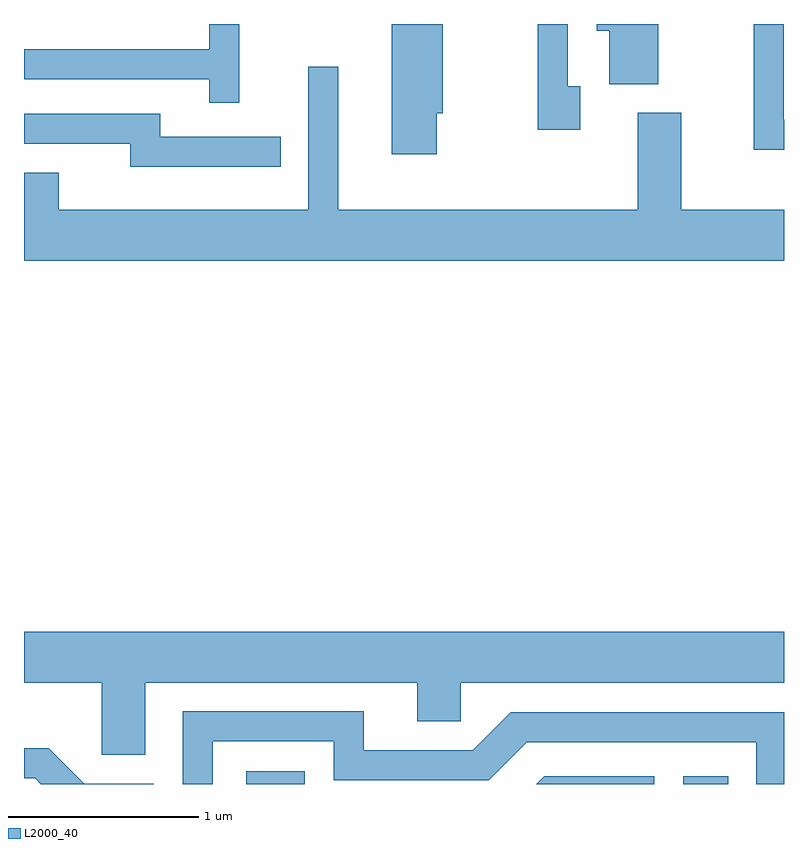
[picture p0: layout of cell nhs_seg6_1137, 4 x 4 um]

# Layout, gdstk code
import gdstk
lib = gdstk.Library(unit=1e-6, precision=1e-09)
def R(c, l, rs):  # rectangles x0, y0, x1, y1
    for r in rs: c.add(gdstk.rectangle(r[:2], r[2:], *l))
def P(c, l, *ps):  # polygons
    for p in ps: c.add(gdstk.Polygon(p, *l))
L2000_40 = (2000, 40)

nhs_seg6_1137 = lib.new_cell('nhs_seg6_1137')
R(nhs_seg6_1137, L2000_40, [(220.781,1556.162,221.089,1556.229), (223.081,1556.162,223.318,1556.204)])
P(nhs_seg6_1137, L2000_40, [(221.784,1559.691),(221.814,1559.691),(221.814,1560.162),(221.546,1560.162),(221.546,1559.476),(221.784,1559.476)],
  [(220.744,1560.162),(220.586,1560.162),(220.586,1560.029),(219.611,1560.029),(219.611,1559.871),(220.586,1559.871),(220.586,1559.748),(220.744,1559.748)],
  [(223.611,1559.659),(223.609,1559.659),(223.609,1560.162),(223.451,1560.162),(223.451,1559.501),(223.611,1559.501)],
  [(222.539,1559.834),(222.474,1559.834),(222.474,1560.162),(222.316,1560.162),(222.316,1559.606),(222.539,1559.606)],
  [(222.949,1560.162),(222.626,1560.162),(222.626,1560.126),(222.691,1560.126),(222.691,1559.846),(222.949,1559.846)],
  [(223.611,1559.184),(223.069,1559.184),(223.069,1559.694),(222.841,1559.694),(222.841,1559.184),(221.264,1559.184),(221.264,1559.938),(221.106,1559.938),(221.106,1559.184),(219.794,1559.184),(219.794,1559.379),(219.611,1559.379),(219.611,1558.916),(223.611,1558.916)],
  [(220.963,1559.569),(220.329,1559.569),(220.329,1559.689),(219.611,1559.689),(219.611,1559.531),(220.171,1559.531),(220.171,1559.411),(220.963,1559.411)],
  [(220.249,1556.696),(221.681,1556.696),(221.681,1556.491),(221.909,1556.491),(221.909,1556.696),(223.611,1556.696),(223.611,1556.964),(219.611,1556.964),(219.611,1556.696),(220.021,1556.696),(220.021,1556.316),(220.249,1556.316)],
  [(220.604,1556.386),(221.241,1556.386),(221.241,1556.181),(222.057,1556.181),(222.257,1556.381),(223.466,1556.381),(223.466,1556.162),(223.611,1556.162),(223.611,1556.539),(222.174,1556.539),(221.974,1556.339),(221.399,1556.339),(221.399,1556.544),(220.446,1556.544),(220.446,1556.162),(220.604,1556.162)],
  [(220.294,1556.164),(219.927,1556.164),(219.742,1556.349),(219.611,1556.349),(219.611,1556.191),(219.669,1556.191),(219.698,1556.162),(220.294,1556.162)],
  [(222.929,1556.204),(222.349,1556.204),(222.307,1556.162),(222.929,1556.162)])

lib.write_gds('nhs_seg6_1137.gds')
